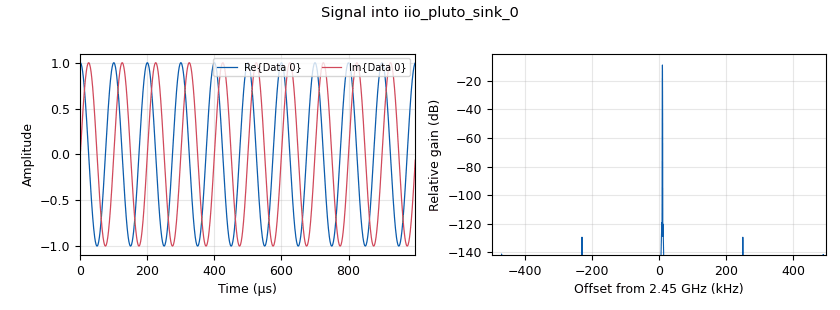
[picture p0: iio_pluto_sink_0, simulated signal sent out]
options:
  parameters:
    generate_options: qt_gui
    id: grc_generate_testing_signal
    output_language: python
    run_options: run
    title: Analog phase shifter testbench
  states: {}

blocks:
- name: samp_rate
  id: variable
  parameters:
    value: int(1e+6)
  states: {}
- name: analog_sig_source_x_0
  id: analog_sig_source_x
  parameters:
    amp: '1'
    freq: 1e4
    offset: '0'
    phase: '0'
    samp_rate: samp_rate
    type: complex
    waveform: analog.GR_COS_WAVE
  states: {}
- name: aoa_calc_phase_diff_0
  id: aoa_calc_phase_diff
  parameters:
    node_idx: '1'
    norm_spacing: '0.0'
  states: {state: disabled}
- name: aoa_precise_moving_average_0
  id: aoa_precise_moving_average
  parameters:
    length: '10000'
    max_iter: '4096'
  states: {state: disabled}
- name: blocks_skiphead_0
  id: blocks_skiphead
  parameters:
    num_items: int(1e+6)
    type: float
  states: {state: disabled}
- name: center_freq
  id: parameter
  parameters:
    type: intx
    value: int(2.45e+9)
  states: {}
- name: iio_pluto_sink_0
  id: iio_pluto_sink
  parameters:
    attenuation1: tx_att
    auto_filter: 'True'
    bandwidth: samp_rate
    buffer_size: '32768'
    cyclic: 'False'
    frequency: center_freq
    samplerate: samp_rate
  states: {}
- name: iio_pluto_source_0
  id: iio_pluto_source
  parameters:
    auto_filter: 'True'
    bandwidth: samp_rate
    bbdc: 'True'
    buffer_size: '32768'
    frequency: center_freq
    gain1: '''manual'''
    manual_gain1: rx_gain
    quadrature: 'True'
    rfdc: 'True'
    samplerate: samp_rate
  states: {state: disabled}
- name: n_samp
  id: parameter
  parameters:
    type: intx
    value: int(1e+3)
  states: {}
- name: qtgui_const_sink_x_0
  id: qtgui_const_sink_x
  parameters:
    size: '1024'
    type: complex
  states: {state: disabled}
- name: qtgui_freq_sink_x_0
  id: qtgui_freq_sink_x
  parameters:
    bw: samp_rate
    fc: center_freq
    fftsize: '1024'
    type: complex
    wintype: firdes.WIN_BLACKMAN_hARRIS
  states: {state: disabled}
- name: qtgui_number_sink_0
  id: qtgui_number_sink
  parameters:
    graph_type: qtgui.NUM_GRAPH_HORIZ
    max: '3.2'
    min: '-3.2'
    name: '"Phase shift in radians"'
    type: float
  states: {state: disabled}
- name: qtgui_time_sink_x_0
  id: qtgui_time_sink_x
  parameters:
    autoscale: 'True'
    size: '1024'
    srate: samp_rate
    tr_mode: qtgui.TRIG_MODE_AUTO
    type: complex
  states: {state: disabled}
- name: rx_gain
  id: parameter
  parameters:
    type: intx
    value: '30'
  states: {}
- name: tx_att
  id: parameter
  parameters:
    type: intx
    value: '20'
  states: {}
- name: v_bias
  id: parameter
  parameters:
    type: eng_float
    value: '0'
  states: {}

connections:
- [analog_sig_source_x_0, '0', aoa_calc_phase_diff_0, '0']
- [analog_sig_source_x_0, '0', iio_pluto_sink_0, '0']
- [aoa_calc_phase_diff_0, '0', blocks_skiphead_0, '0']
- [aoa_precise_moving_average_0, '0', qtgui_number_sink_0, '0']
- [blocks_skiphead_0, '0', aoa_precise_moving_average_0, '0']
- [iio_pluto_source_0, '0', aoa_calc_phase_diff_0, '1']
- [iio_pluto_source_0, '0', qtgui_const_sink_x_0, '0']
- [iio_pluto_source_0, '0', qtgui_freq_sink_x_0, '0']
- [iio_pluto_source_0, '0', qtgui_time_sink_x_0, '0']

metadata:
  file_format: 1
